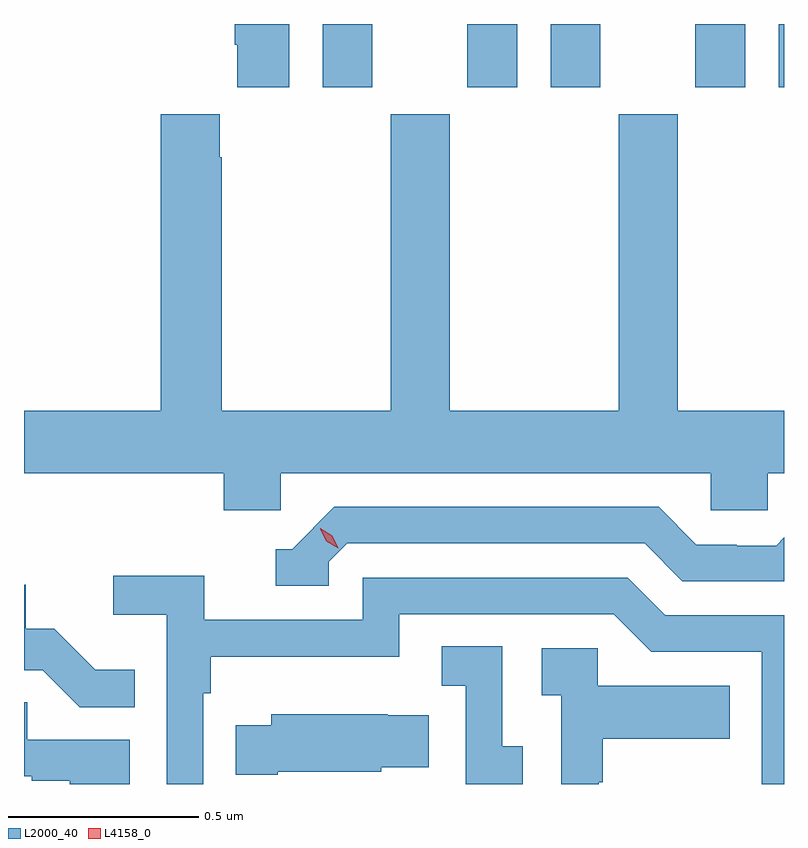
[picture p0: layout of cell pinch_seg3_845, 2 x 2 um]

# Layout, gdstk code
import gdstk
lib = gdstk.Library(unit=1e-6, precision=1e-09)
def R(c, l, rs):  # rectangles x0, y0, x1, y1
    for r in rs: c.add(gdstk.rectangle(r[:2], r[2:], *l))
def P(c, l, *ps):  # polygons
    for p in ps: c.add(gdstk.Polygon(p, *l))
L2000_40 = (2000, 40)
L4158_0 = (4158, 0)

pinch_seg3_845 = lib.new_cell('pinch_seg3_845')
R(pinch_seg3_845, L2000_40, [(855.986,715.251,856.117,715.418), (856.367,715.251,856.498,715.418), (856.586,715.251,856.717,715.418), (856.967,715.251,857.098,715.418), (857.186,715.251,857.2,715.418)])
P(pinch_seg3_845, L2000_40, [(855.898,715.418),(855.755,715.418),(855.755,715.363),(855.761,715.363),(855.761,715.251),(855.898,715.251)],
  [(855.876,714.236),(857.007,714.236),(857.007,714.138),(857.157,714.138),(857.157,714.236),(857.2,714.236),(857.2,714.4),(856.92,714.4),(856.92,715.18),(856.765,715.18),(856.765,714.4),(856.32,714.4),(856.32,715.18),(856.165,715.18),(856.165,714.4),(855.72,714.4),(855.72,715.067),(855.715,715.067),(855.715,715.18),(855.56,715.18),(855.56,714.4),(855.2,714.4),(855.2,714.236),(855.725,714.236),(855.725,714.138),(855.876,714.138)],
  [(856.002,714.003),(856.05,714.051),(856.833,714.051),(856.932,713.952),(857.2,713.952),(857.2,714.067),(857.179,714.045),(857.076,714.045),(857.076,714.048),(856.969,714.048),(856.87,714.147),(856.017,714.147),(855.906,714.036),(855.863,714.036),(855.863,713.94),(856.002,713.94)],
  [(855.672,713.657),(855.692,713.657),(855.692,713.753),(856.188,713.753),(856.188,713.865),(856.752,713.865),(856.851,713.766),(857.142,713.766),(857.142,713.418),(857.2,713.418),(857.2,713.862),(856.888,713.862),(856.789,713.961),(856.092,713.961),(856.092,713.85),(855.674,713.85),(855.674,713.966),(855.435,713.966),(855.435,713.864),(855.576,713.864),(855.576,713.418),(855.672,713.418)],
  [(855.491,713.719),(855.387,713.719),(855.28,713.826),(855.204,713.826),(855.204,713.943),(855.2,713.943),(855.2,713.718),(855.249,713.718),(855.347,713.62),(855.491,713.62)],
  [(856.513,713.517),(856.458,713.517),(856.458,713.78),(856.299,713.78),(856.299,713.677),(856.362,713.677),(856.362,713.418),(856.513,713.418)],
  [(856.713,713.423),(856.723,713.423),(856.723,713.537),(857.057,713.537),(857.057,713.677),(856.71,713.677),(856.71,713.775),(856.563,713.775),(856.563,713.651),(856.614,713.651),(856.614,713.418),(856.713,713.418)],
  [(855.478,713.535),(855.209,713.535),(855.209,713.633),(855.2,713.633),(855.2,713.439),(855.221,713.439),(855.221,713.427),(855.32,713.427),(855.32,713.418),(855.478,713.418)],
  [(855.868,713.45),(856.14,713.45),(856.14,713.462),(856.265,713.462),(856.265,713.599),(856.157,713.599),(856.157,713.602),(855.851,713.602),(855.851,713.572),(855.757,713.572),(855.757,713.443),(855.868,713.443)])
P(pinch_seg3_845, L4158_0, [(856.027,714.038),(855.996,714.057),(855.98,714.09),(855.98,714.091),(855.98,714.091),(856.011,714.071),(856.027,714.038),(856.027,714.038)])

lib.write_gds('pinch_seg3_845.gds')
